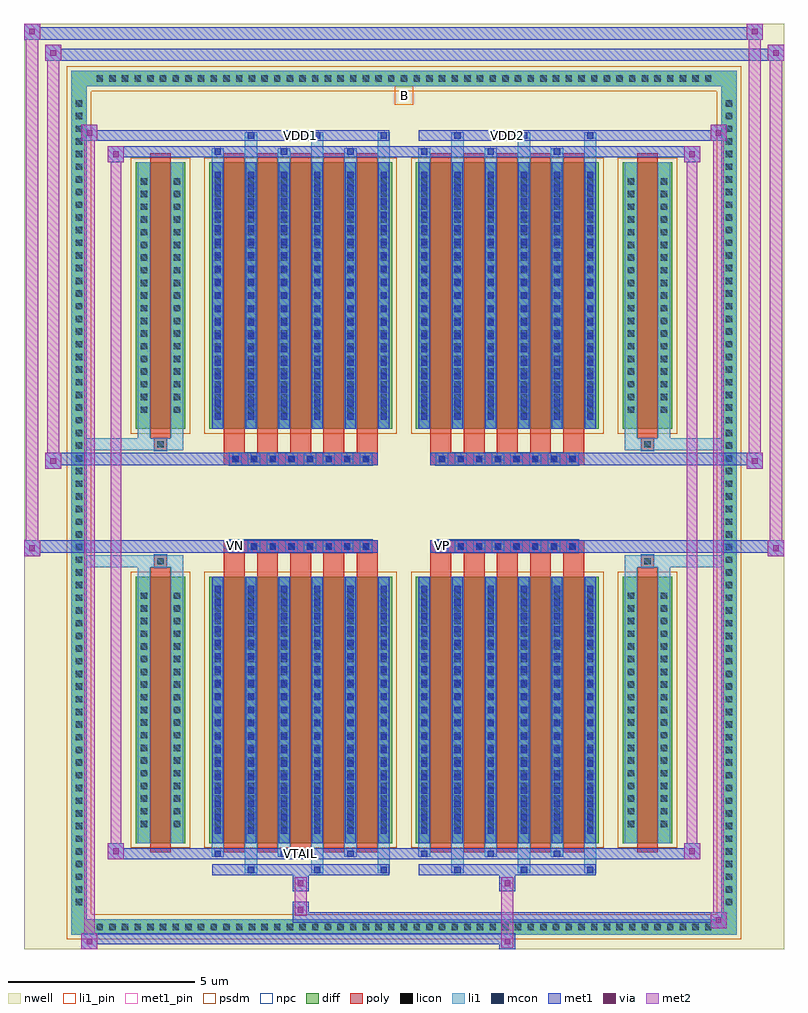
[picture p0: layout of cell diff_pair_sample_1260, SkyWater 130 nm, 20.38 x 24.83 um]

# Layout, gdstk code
import gdstk
lib = gdstk.Library(unit=1e-6, precision=5e-09)
def R(c, l, rs):  # rectangles x0, y0, x1, y1
    for r in rs: c.add(gdstk.rectangle(r[:2], r[2:], *l))
def A(c, l, x, y, w, h, nx, ny, dx, dy):  # array of equal rectangles
    R(c, l, [(x+i*dx, y+j*dy, x+i*dx+w, y+j*dy+h) for i in range(nx) for j in range(ny)])
def P(c, l, *ps):  # polygons
    for p in ps: c.add(gdstk.Polygon(p, *l))
nwell = (64, 20)
diff = (65, 20)
poly = (66, 20)
licon = (66, 44)
li1_pin = (67, 16)
li1 = (67, 20)
mcon = (67, 44)
met1_pin = (68, 16)
met1 = (68, 20)
via = (68, 44)
met2 = (69, 20)
psdm = (94, 20)
npc = (95, 20)

diff_pair_sample_1260 = lib.new_cell('diff_pair_sample_1260')
R(diff_pair_sample_1260, nwell, [(-10.19,-11.98,10.19,12.85), (-7.51,-10.17,-0.01,-0.805), (0.01,-10.17,7.51,-0.805), (-7.51,0.805,-0.01,10.17), (0.01,0.805,7.51,10.17)])
A(diff_pair_sample_1260, diff, -8.365, -11.58, 0.41, 0.41, 49, 2, 0.34, 22.75)
A(diff_pair_sample_1260, diff, -8.92, -10.915, 0.41, 0.41, 1, 64, 0, 0.34)
A(diff_pair_sample_1260, diff, 8.51, -10.915, 0.41, 0.41, 1, 64, 0, 0.34)
R(diff_pair_sample_1260, diff, [(-8.365,-11.58,8.365,-11.17), (-8.92,-10.915,-8.51,10.915), (8.51,-10.915,8.92,10.915), (-7.2,-9.125,-5.86,-1.985), (-5.22,-9.125,-0.32,-1.985), (0.32,-9.125,5.22,-1.985), (5.86,-9.125,7.2,-1.985), (-7.2,1.985,-5.86,9.125), (-5.22,1.985,-0.32,9.125), (0.32,1.985,5.22,9.125), (5.86,1.985,7.2,9.125), (-8.365,11.17,8.365,11.58)])
P(diff_pair_sample_1260, diff, [(8.92,11.58),(-8.92,11.58),(-8.92,-11.17),(-8.51,-11.17),(-8.51,11.17),(8.51,11.17),(8.51,-11.17),(-8.51,-11.17),(-8.92,-11.17),(-8.92,-11.58),(8.92,-11.58)])
A(diff_pair_sample_1260, poly, -4.83, -9.375, 0.56, 7.64, 5, 2, 0.89, 11.11)
A(diff_pair_sample_1260, poly, 0.71, -9.375, 0.56, 7.64, 5, 2, 0.89, 11.11)
A(diff_pair_sample_1260, poly, -4.83, -1.735, 0.56, 0.4, 5, 2, 0.89, 3.07)
A(diff_pair_sample_1260, poly, 0.71, -1.735, 0.56, 0.4, 5, 2, 0.89, 3.07)
A(diff_pair_sample_1260, poly, -4.685, -1.335, 0.33, 0.33, 8, 2, 0.5, 2.34)
A(diff_pair_sample_1260, poly, 0.855, -1.335, 0.33, 0.33, 8, 2, 0.5, 2.34)
R(diff_pair_sample_1260, poly, [(-6.81,-9.375,-6.25,-1.735), (6.25,-9.375,6.81,-1.735), (-6.695,-1.735,-6.365,-1.405), (-6.695,-1.735,-6.365,-1.405), (6.365,-1.735,6.695,-1.405), (6.365,-1.735,6.695,-1.405), (-4.83,-1.335,-0.71,-1.005), (0.71,-1.335,4.83,-1.005), (-4.83,1.005,-0.71,1.335), (0.71,1.005,4.83,1.335), (-6.695,1.405,-6.365,1.735), (-6.695,1.405,-6.365,1.735), (6.365,1.405,6.695,1.735), (6.365,1.405,6.695,1.735), (-6.81,1.735,-6.25,9.375), (6.25,1.735,6.81,9.375)])
A(diff_pair_sample_1260, licon, -8.245, -11.46, 0.17, 0.17, 49, 2, 0.34, 22.75)
A(diff_pair_sample_1260, licon, -8.8, -10.795, 0.17, 0.17, 1, 64, 0, 0.34)
A(diff_pair_sample_1260, licon, 8.63, -10.795, 0.17, 0.17, 1, 64, 0, 0.34)
A(diff_pair_sample_1260, licon, -7.06, -8.7, 0.17, 0.17, 1, 19, 0, 0.34)
A(diff_pair_sample_1260, licon, -6.17, -8.7, 0.17, 0.17, 1, 19, 0, 0.34)
A(diff_pair_sample_1260, licon, -5.08, -8.7, 0.17, 0.17, 6, 19, 0.89, 0.34)
A(diff_pair_sample_1260, licon, 0.46, -8.7, 0.17, 0.17, 6, 19, 0.89, 0.34)
A(diff_pair_sample_1260, licon, 6, -8.7, 0.17, 0.17, 1, 19, 0, 0.34)
A(diff_pair_sample_1260, licon, 6.89, -8.7, 0.17, 0.17, 1, 19, 0, 0.34)
A(diff_pair_sample_1260, licon, -4.605, -1.255, 0.17, 0.17, 8, 2, 0.5, 2.34)
A(diff_pair_sample_1260, licon, 0.935, -1.255, 0.17, 0.17, 8, 2, 0.5, 2.34)
A(diff_pair_sample_1260, licon, -7.06, 2.41, 0.17, 0.17, 1, 19, 0, 0.34)
A(diff_pair_sample_1260, licon, -6.17, 2.41, 0.17, 0.17, 1, 19, 0, 0.34)
A(diff_pair_sample_1260, licon, -5.08, 2.41, 0.17, 0.17, 6, 19, 0.89, 0.34)
A(diff_pair_sample_1260, licon, 0.46, 2.41, 0.17, 0.17, 6, 19, 0.89, 0.34)
A(diff_pair_sample_1260, licon, 6, 2.41, 0.17, 0.17, 1, 19, 0, 0.34)
A(diff_pair_sample_1260, licon, 6.89, 2.41, 0.17, 0.17, 1, 19, 0, 0.34)
R(diff_pair_sample_1260, licon, [(-6.615,-1.655,-6.445,-1.485), (6.445,-1.655,6.615,-1.485), (-6.615,1.485,-6.445,1.655), (6.445,1.485,6.615,1.655)])
R(diff_pair_sample_1260, li1_pin, [(-0.25,10.67,0.25,11.17)])
A(diff_pair_sample_1260, li1, -8.325, -11.54, 0.33, 0.33, 49, 2, 0.34, 22.75)
A(diff_pair_sample_1260, li1, -8.88, -10.875, 0.33, 0.33, 1, 64, 0, 0.34)
A(diff_pair_sample_1260, li1, 8.55, -10.875, 0.33, 0.33, 1, 64, 0, 0.34)
A(diff_pair_sample_1260, li1, -4.27, -9.93, 0.33, 0.805, 3, 2, 1.78, 19.055)
A(diff_pair_sample_1260, li1, -4.19, -9.93, 0.17, 0.17, 3, 2, 1.78, 19.69)
A(diff_pair_sample_1260, li1, 1.27, -9.93, 0.33, 0.805, 3, 2, 1.78, 19.055)
A(diff_pair_sample_1260, li1, 1.35, -9.93, 0.17, 0.17, 3, 2, 1.78, 19.69)
A(diff_pair_sample_1260, li1, -5.16, -9.5, 0.33, 0.375, 3, 2, 1.78, 18.625)
A(diff_pair_sample_1260, li1, -5.08, -9.5, 0.17, 0.17, 3, 2, 1.78, 18.83)
A(diff_pair_sample_1260, li1, 0.38, -9.5, 0.33, 0.375, 3, 2, 1.78, 18.625)
A(diff_pair_sample_1260, li1, 0.46, -9.5, 0.17, 0.17, 3, 2, 1.78, 18.83)
A(diff_pair_sample_1260, li1, -5.16, -9.125, 0.33, 7.14, 6, 2, 0.89, 11.11)
A(diff_pair_sample_1260, li1, 0.38, -9.125, 0.33, 7.14, 6, 2, 0.89, 11.11)
A(diff_pair_sample_1260, li1, -5.08, -8.88, 0.17, 0.17, 6, 19, 0.89, 0.36)
A(diff_pair_sample_1260, li1, -5.08, -8.88, 0.17, 6.65, 6, 2, 0.89, 11.11)
A(diff_pair_sample_1260, li1, 0.46, -8.88, 0.17, 0.17, 6, 19, 0.89, 0.36)
A(diff_pair_sample_1260, li1, 0.46, -8.88, 0.17, 6.65, 6, 2, 0.89, 11.11)
A(diff_pair_sample_1260, li1, -7.14, -8.78, 0.33, 0.33, 1, 19, 0, 0.34)
A(diff_pair_sample_1260, li1, -6.25, -8.78, 0.33, 0.33, 1, 19, 0, 0.34)
A(diff_pair_sample_1260, li1, -5.16, -8.78, 0.33, 0.33, 6, 19, 0.89, 0.34)
A(diff_pair_sample_1260, li1, 0.38, -8.78, 0.33, 0.33, 6, 19, 0.89, 0.34)
A(diff_pair_sample_1260, li1, 5.92, -8.78, 0.33, 0.33, 1, 19, 0, 0.34)
A(diff_pair_sample_1260, li1, 6.81, -8.78, 0.33, 0.33, 1, 19, 0, 0.34)
A(diff_pair_sample_1260, li1, -4.685, -1.335, 0.33, 0.33, 8, 2, 0.5, 2.34)
A(diff_pair_sample_1260, li1, 0.855, -1.335, 0.33, 0.33, 8, 2, 0.5, 2.34)
A(diff_pair_sample_1260, li1, -5.08, 2.23, 0.17, 0.17, 6, 19, 0.89, 0.36)
A(diff_pair_sample_1260, li1, 0.46, 2.23, 0.17, 0.17, 6, 19, 0.89, 0.36)
A(diff_pair_sample_1260, li1, -7.14, 2.33, 0.33, 0.33, 1, 19, 0, 0.34)
A(diff_pair_sample_1260, li1, -6.25, 2.33, 0.33, 0.33, 1, 19, 0, 0.34)
A(diff_pair_sample_1260, li1, -5.16, 2.33, 0.33, 0.33, 6, 19, 0.89, 0.34)
A(diff_pair_sample_1260, li1, 0.38, 2.33, 0.33, 0.33, 6, 19, 0.89, 0.34)
A(diff_pair_sample_1260, li1, 5.92, 2.33, 0.33, 0.33, 1, 19, 0, 0.34)
A(diff_pair_sample_1260, li1, 6.81, 2.33, 0.33, 0.33, 1, 19, 0, 0.34)
R(diff_pair_sample_1260, li1, [(-8.92,-11.58,-8.51,-11.17), (-8.92,-11.58,-8.51,-11.17), (-8.51,-11.58,8.51,-11.17), (8.51,-11.58,8.92,-11.17), (8.51,-11.58,8.92,-11.17), (-8.92,-11.17,-8.51,11.17), (8.51,-11.17,8.92,11.17), (-7.14,-9.125,-6.81,-1.985), (-6.25,-9.125,-5.92,-1.985), (5.92,-9.125,6.25,-1.985), (6.81,-9.125,7.14,-1.985), (-7.14,-1.985,-6.81,-1.405), (-6.25,-1.985,-5.92,-1.405), (5.92,-1.985,6.25,-1.405), (6.81,-1.985,7.14,-1.405), (-8.92,-1.735,-6.695,-1.405), (-7.14,-1.735,-6.695,-1.405), (-6.695,-1.735,-6.365,-1.405), (-6.365,-1.735,-5.92,-1.405), (5.92,-1.735,6.365,-1.405), (6.365,-1.735,6.695,-1.405), (6.365,-1.735,8.92,-1.405), (6.695,-1.735,7.14,-1.405), (-8.92,1.405,-6.695,1.735), (-7.14,1.405,-6.695,1.735), (-7.14,1.405,-6.81,1.985), (-6.695,1.405,-6.365,1.735), (-6.365,1.405,-5.92,1.735), (-6.25,1.405,-5.92,1.985), (5.92,1.405,6.365,1.735), (5.92,1.405,6.25,1.985), (6.365,1.405,6.695,1.735), (6.365,1.405,8.92,1.735), (6.695,1.405,7.14,1.735), (6.81,1.405,7.14,1.985), (-7.14,1.985,-6.81,9.125), (-6.25,1.985,-5.92,9.125), (5.92,1.985,6.25,9.125), (6.81,1.985,7.14,9.125), (-8.92,11.17,-8.51,11.58), (-8.92,11.17,-8.51,11.58), (-8.51,11.17,8.51,11.58), (8.51,11.17,8.92,11.58), (8.51,11.17,8.92,11.58)])
A(diff_pair_sample_1260, mcon, -4.19, -9.93, 0.17, 0.17, 3, 2, 1.78, 19.69)
A(diff_pair_sample_1260, mcon, 1.35, -9.93, 0.17, 0.17, 3, 2, 1.78, 19.69)
A(diff_pair_sample_1260, mcon, -5.08, -9.5, 0.17, 0.17, 3, 2, 1.78, 18.83)
A(diff_pair_sample_1260, mcon, 0.46, -9.5, 0.17, 0.17, 3, 2, 1.78, 18.83)
A(diff_pair_sample_1260, mcon, -5.08, -8.88, 0.17, 0.17, 6, 19, 0.89, 0.36)
A(diff_pair_sample_1260, mcon, 0.46, -8.88, 0.17, 0.17, 6, 19, 0.89, 0.36)
A(diff_pair_sample_1260, mcon, -4.605, -1.255, 0.17, 0.17, 8, 2, 0.5, 2.34)
A(diff_pair_sample_1260, mcon, 0.935, -1.255, 0.17, 0.17, 8, 2, 0.5, 2.34)
A(diff_pair_sample_1260, mcon, -5.08, 2.23, 0.17, 0.17, 6, 19, 0.89, 0.36)
A(diff_pair_sample_1260, mcon, 0.46, 2.23, 0.17, 0.17, 6, 19, 0.89, 0.36)
R(diff_pair_sample_1260, met1_pin, [(-2.905,-9.54,-2.635,-9.27), (-4.655,-1.295,-4.385,-1.025), (0.885,-1.295,1.155,-1.025), (-2.905,9.72,-2.635,9.99), (2.635,9.72,2.905,9.99)])
A(diff_pair_sample_1260, met1, -4.25, -9.99, 0.29, 0.29, 3, 2, 1.78, 19.69)
A(diff_pair_sample_1260, met1, 1.29, -9.99, 0.29, 0.29, 3, 2, 1.78, 19.69)
A(diff_pair_sample_1260, met1, -5.14, -9.56, 0.29, 0.29, 3, 2, 1.78, 18.83)
A(diff_pair_sample_1260, met1, 0.4, -9.56, 0.29, 0.29, 3, 2, 1.78, 18.83)
A(diff_pair_sample_1260, met1, -5.14, -9.125, 0.29, 7.14, 6, 2, 0.89, 11.11)
A(diff_pair_sample_1260, met1, 0.4, -9.125, 0.29, 7.14, 6, 2, 0.89, 11.11)
A(diff_pair_sample_1260, met1, -5.14, -8.94, 0.29, 0.29, 6, 19, 0.89, 0.36)
A(diff_pair_sample_1260, met1, 0.4, -8.94, 0.29, 0.29, 6, 19, 0.89, 0.36)
A(diff_pair_sample_1260, met1, -4.665, -1.315, 0.29, 0.29, 8, 2, 0.5, 2.34)
A(diff_pair_sample_1260, met1, 0.875, -1.315, 0.29, 0.29, 8, 2, 0.5, 2.34)
A(diff_pair_sample_1260, met1, -5.14, 2.17, 0.29, 0.29, 6, 19, 0.89, 0.36)
A(diff_pair_sample_1260, met1, 0.4, 2.17, 0.29, 0.29, 6, 19, 0.89, 0.36)
R(diff_pair_sample_1260, met1, [(-8.65,-11.98,-8.22,-11.55), (2.555,-11.98,2.985,-11.55), (-8.65,-11.84,2.985,-11.55), (8.22,-11.41,8.65,-10.98), (-2.985,-11.27,8.65,-10.98), (-2.985,-11.13,-2.555,-10.7), (-2.985,-10.42,-2.555,-9.99), (2.555,-10.42,2.985,-9.99), (-5.14,-9.99,-0.4,-9.7), (0.4,-9.99,5.14,-9.7), (-7.94,-9.56,-7.51,-9.13), (-7.94,-9.56,-5.14,-9.27), (-5.14,-9.56,-0.4,-9.27), (-0.4,-9.56,0.4,-9.27), (0.4,-9.56,5.14,-9.27), (5.14,-9.56,7.94,-9.27), (7.51,-9.56,7.94,-9.13), (-10.19,-1.435,-9.76,-1.005), (9.76,-1.435,10.19,-1.005), (-10.19,-1.335,-0.71,-1.005), (-4.83,-1.335,-0.71,-1.005), (0.71,-1.335,4.83,-1.005), (0.71,-1.335,10.19,-1.005), (-9.62,0.905,-9.19,1.335), (9.19,0.905,9.62,1.335), (-9.62,1.005,-4.83,1.335), (-4.83,1.005,-0.71,1.335), (0.71,1.005,4.83,1.335), (4.83,1.005,9.62,1.335), (-7.94,9.13,-7.51,9.56), (7.51,9.13,7.94,9.56), (-7.94,9.27,-5.14,9.56), (-5.14,9.27,-0.4,9.56), (-0.4,9.27,0.4,9.56), (0.4,9.27,5.14,9.56), (5.14,9.27,7.94,9.56), (-8.65,9.7,-8.22,10.13), (-8.65,9.7,-5.14,9.99), (-5.14,9.7,-0.4,9.99), (0.4,9.7,5.14,9.99), (5.14,9.7,8.65,9.99), (8.22,9.7,8.65,10.13), (-9.62,11.85,-9.19,12.28), (-9.62,11.85,-7.51,12.18), (-7.51,11.85,7.51,12.18), (7.51,11.85,10.19,12.18), (9.76,11.85,10.19,12.28), (-10.19,12.42,-9.76,12.85), (-10.19,12.42,-7.51,12.75), (-7.51,12.42,7.51,12.75), (7.51,12.42,9.62,12.75), (9.19,12.42,9.62,12.85)])
R(diff_pair_sample_1260, via, [(-8.51,-11.84,-8.36,-11.69), (2.695,-11.84,2.845,-11.69), (8.36,-11.27,8.51,-11.12), (-2.845,-10.99,-2.695,-10.84), (-2.845,-10.28,-2.695,-10.13), (2.695,-10.28,2.845,-10.13), (-7.8,-9.42,-7.65,-9.27), (7.65,-9.42,7.8,-9.27), (-10.05,-1.295,-9.9,-1.145), (9.9,-1.295,10.05,-1.145), (-9.48,1.045,-9.33,1.195), (9.33,1.045,9.48,1.195), (-7.8,9.27,-7.65,9.42), (7.65,9.27,7.8,9.42), (-8.51,9.84,-8.36,9.99), (8.36,9.84,8.51,9.99), (-9.48,11.99,-9.33,12.14), (9.9,11.99,10.05,12.14), (-10.05,12.56,-9.9,12.71), (9.33,12.56,9.48,12.71)])
R(diff_pair_sample_1260, met2, [(-8.65,-11.98,-8.22,-11.55), (-8.58,-11.98,-8.29,10.13), (-8.29,-11.98,-8.22,-11.55), (-8.6,-11.93,-8.27,-11.6), (2.605,-11.93,2.935,-11.6), (2.605,-11.6,2.935,-10.37), (8.22,-11.41,8.65,-10.98), (8.29,-11.41,8.58,10.13), (8.58,-11.41,8.65,-10.98), (8.27,-11.36,8.6,-11.03), (-2.935,-11.08,-2.605,-10.75), (-2.935,-10.75,-2.605,-10.37), (-2.935,-10.37,-2.605,-10.04), (2.605,-10.37,2.935,-10.04), (-7.94,-9.56,-7.51,-9.13), (-7.87,-9.56,-7.58,9.56), (-7.58,-9.56,-7.51,-9.13), (7.51,-9.56,7.94,-9.13), (7.58,-9.56,7.87,9.56), (7.87,-9.56,7.94,-9.13), (-7.89,-9.51,-7.56,-9.18), (7.56,-9.51,7.89,-9.18), (-10.19,-1.435,-9.76,-1.005), (-10.14,-1.435,-9.81,12.85), (-9.81,-1.435,-9.76,-1.005), (9.76,-1.435,10.19,-1.005), (9.81,-1.435,10.14,12.28), (10.14,-1.435,10.19,-1.005), (-10.14,-1.385,-9.81,-1.055), (9.81,-1.385,10.14,-1.055), (-9.62,0.905,-9.19,1.335), (-9.57,0.905,-9.24,12.28), (-9.24,0.905,-9.19,1.335), (9.19,0.905,9.62,1.335), (9.24,0.905,9.57,12.85), (9.57,0.905,9.62,1.335), (-9.57,0.955,-9.24,1.285), (9.24,0.955,9.57,1.285), (-7.94,9.13,-7.51,9.56), (-7.58,9.13,-7.51,9.56), (7.51,9.13,7.94,9.56), (7.87,9.13,7.94,9.56), (-7.89,9.18,-7.56,9.51), (7.56,9.18,7.89,9.51), (-8.65,9.7,-8.22,10.13), (-8.29,9.7,-8.22,10.13), (8.22,9.7,8.65,10.13), (8.58,9.7,8.65,10.13), (-8.6,9.75,-8.27,10.08), (8.27,9.75,8.6,10.08), (-9.62,11.85,-9.19,12.28), (-9.24,11.85,-9.19,12.28), (9.76,11.85,10.19,12.28), (10.14,11.85,10.19,12.28), (-9.57,11.9,-9.24,12.23), (9.81,11.9,10.14,12.23), (-10.19,12.42,-9.76,12.85), (-9.81,12.42,-9.76,12.85), (9.19,12.42,9.62,12.85), (9.57,12.42,9.62,12.85), (-10.14,12.47,-9.81,12.8), (9.24,12.47,9.57,12.8)])
R(diff_pair_sample_1260, psdm, [(-7.33,-9.255,-5.73,-1.855), (-5.35,-9.255,-0.19,-1.855), (0.19,-9.255,5.35,-1.855), (5.73,-9.255,7.33,-1.855), (-7.33,1.855,-5.73,9.255), (-5.35,1.855,-0.19,9.255), (0.19,1.855,5.35,9.255), (5.73,1.855,7.33,9.255)])
P(diff_pair_sample_1260, psdm, [(9.05,11.71),(-9.05,11.71),(-9.05,-11.04),(-8.38,-11.04),(-8.38,11.04),(8.38,11.04),(8.38,-11.04),(-8.38,-11.04),(-9.05,-11.04),(-9.05,-11.71),(9.05,-11.71)])
A(diff_pair_sample_1260, npc, -4.705, -1.355, 0.37, 0.37, 8, 2, 0.5, 2.34)
A(diff_pair_sample_1260, npc, 0.835, -1.355, 0.37, 0.37, 8, 2, 0.5, 2.34)
R(diff_pair_sample_1260, npc, [(-6.715,-1.755,-6.345,-1.385), (6.345,-1.755,6.715,-1.385), (-4.705,-1.355,-3.835,-0.985), (-4.705,-1.355,-3.835,-0.985), (-4.205,-1.355,-3.335,-0.985), (-4.205,-1.355,-3.335,-0.985), (-3.705,-1.355,-2.835,-0.985), (-3.705,-1.355,-2.835,-0.985), (-3.205,-1.355,-2.335,-0.985), (-3.205,-1.355,-2.335,-0.985), (-2.705,-1.355,-1.835,-0.985), (-2.705,-1.355,-1.835,-0.985), (-2.205,-1.355,-1.335,-0.985), (-2.205,-1.355,-1.335,-0.985), (-1.705,-1.355,-0.835,-0.985), (-1.705,-1.355,-0.835,-0.985), (0.835,-1.355,1.705,-0.985), (0.835,-1.355,1.705,-0.985), (1.335,-1.355,2.205,-0.985), (1.335,-1.355,2.205,-0.985), (1.835,-1.355,2.705,-0.985), (1.835,-1.355,2.705,-0.985), (2.335,-1.355,3.205,-0.985), (2.335,-1.355,3.205,-0.985), (2.835,-1.355,3.705,-0.985), (2.835,-1.355,3.705,-0.985), (3.335,-1.355,4.205,-0.985), (3.335,-1.355,4.205,-0.985), (3.835,-1.355,4.705,-0.985), (3.835,-1.355,4.705,-0.985), (-4.705,0.985,-3.835,1.355), (-4.705,0.985,-3.835,1.355), (-4.205,0.985,-3.335,1.355), (-4.205,0.985,-3.335,1.355), (-3.705,0.985,-2.835,1.355), (-3.705,0.985,-2.835,1.355), (-3.205,0.985,-2.335,1.355), (-3.205,0.985,-2.335,1.355), (-2.705,0.985,-1.835,1.355), (-2.705,0.985,-1.835,1.355), (-2.205,0.985,-1.335,1.355), (-2.205,0.985,-1.335,1.355), (-1.705,0.985,-0.835,1.355), (-1.705,0.985,-0.835,1.355), (0.835,0.985,1.705,1.355), (0.835,0.985,1.705,1.355), (1.335,0.985,2.205,1.355), (1.335,0.985,2.205,1.355), (1.835,0.985,2.705,1.355), (1.835,0.985,2.705,1.355), (2.335,0.985,3.205,1.355), (2.335,0.985,3.205,1.355), (2.835,0.985,3.705,1.355), (2.835,0.985,3.705,1.355), (3.335,0.985,4.205,1.355), (3.335,0.985,4.205,1.355), (3.835,0.985,4.705,1.355), (3.835,0.985,4.705,1.355), (-6.715,1.385,-6.345,1.755), (6.345,1.385,6.715,1.755)])
diff_pair_sample_1260.add(gdstk.Label('VTAIL', (-2.77,-9.405), layer=68, texttype=5))
diff_pair_sample_1260.add(gdstk.Label('VN', (-4.52,-1.16), layer=68, texttype=5))
diff_pair_sample_1260.add(gdstk.Label('VP', (1.02,-1.16), layer=68, texttype=5))
diff_pair_sample_1260.add(gdstk.Label('B', (0,10.92), layer=67, texttype=5))
diff_pair_sample_1260.add(gdstk.Label('VDD2', (2.77,9.855), layer=68, texttype=5))
diff_pair_sample_1260.add(gdstk.Label('VDD1', (-2.77,9.855), layer=68, texttype=5))

lib.write_gds('diff_pair_sample_1260.gds')
